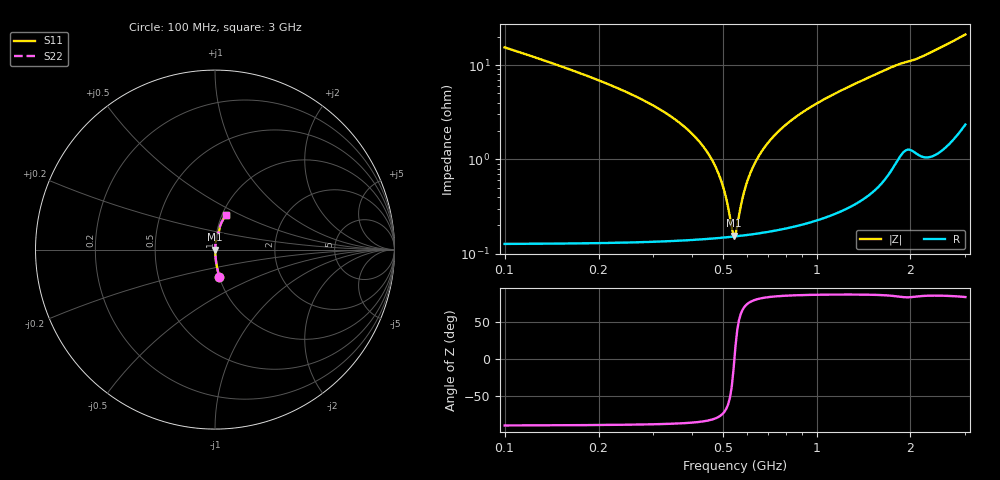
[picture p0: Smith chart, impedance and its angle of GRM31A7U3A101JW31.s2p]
!Murata Part Number: GRM31A7U3A101JW31
!These Parameters are Measured in Series Mode Connection
!Data Generated on Mar 30, 2021
!  o--ll--o
!Port1  Port2
!  o------o
!Operation Temp=25[degC], DC Bias Voltage=0[V]
!Freq. Start=100[MHz] Stop=3[GHz] 401[Steps]
# Hz S RI R 50
!Freq.(Hz) S11(Real) S11(Imag) S21(Real) S21(Imag) S12(Real) S12(Imag) S22(Real) S22(Imag)
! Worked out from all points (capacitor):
!   401 points, 100 MHz to 3 GHz, reference 50 ohm
!   read as one part in series: C = 99.9 pF near 114.5 MHz
!   lowest |Z| = 155 mohm at 542.2 MHz (marker M1)
!   series resonance near 545.2 MHz, so ESL is about 850 pH
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1e8  0.0243 -0.1499  0.9757 0.1499  0.9757 0.1499  0.0243 -0.1499
2.16e8  0.00514 -0.0618  0.9949 0.0618  0.9949 0.0618  0.00514 -0.0618
3.5375e8  0.00205 -0.0261  0.998 0.0261  0.998 0.0261  0.00205 -0.0261
4.2625e8  0.00163 -0.0146  0.9984 0.0146  0.9984 0.0146  0.00163 -0.0146
4.5525e8  0.00155 -0.0106  0.9984 0.0106  0.9984 0.0106  0.00155 -0.0106
4.8425e8  0.00151 -0.00698  0.9985 0.00698  0.9985 0.00698  0.00151 -0.00698
5.06e8  0.0015 -0.00439  0.9985 0.00439  0.9985 0.00439  0.0015 -0.00439
5.35e8  0.00151 -0.00111  0.9985 0.00111  0.9985 0.00111  0.00151 -0.00111
5.4225e8  0.00152 -0.000322  0.9985 0.000322  0.9985 0.000322  0.00152 -0.000322
5.495e8  0.00152 0.000459  0.9985 -0.000459  0.9985 -0.000459  0.00152 0.000459
5.5675e8  0.00153 0.00123  0.9985 -0.00123  0.9985 -0.00123  0.00153 0.00123
5.8575e8  0.00158 0.00423  0.9984 -0.00423  0.9984 -0.00423  0.00158 0.00423
6.075e8  0.00163 0.00639  0.9984 -0.00639  0.9984 -0.00639  0.00163 0.00639
6.4375e8  0.00173 0.00985  0.9983 -0.00985  0.9983 -0.00985  0.00173 0.00985
6.8e8  0.00185 0.0132  0.9982 -0.0132  0.9982 -0.0132  0.00185 0.0132
7.3075e8  0.00205 0.0176  0.9979 -0.0176  0.9979 -0.0176  0.00205 0.0176
8.685e8  0.0028 0.0288  0.9972 -0.0288  0.9972 -0.0288  0.0028 0.0288
1.0715e9  0.00437 0.044  0.9956 -0.044  0.9956 -0.044  0.00437 0.044
1.55e9  0.011 0.0786  0.989 -0.0786  0.989 -0.0786  0.011 0.0786
2.03575e9  0.024 0.1077  0.976 -0.1077  0.976 -0.1077  0.024 0.1077
2.5215e9  0.0349 0.1481  0.9651 -0.1481  0.9651 -0.1481  0.0349 0.1481
3e9  0.0622 0.192  0.9378 -0.192  0.9378 -0.192  0.0622 0.192
